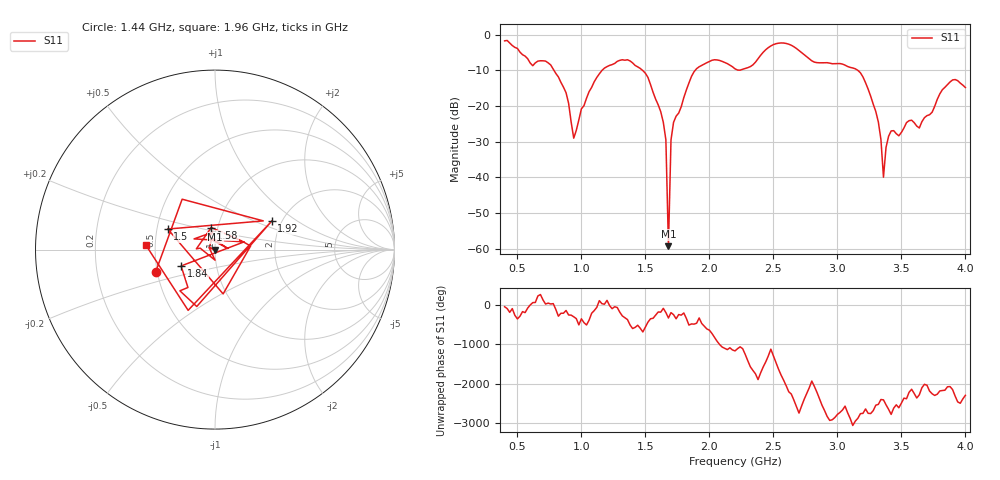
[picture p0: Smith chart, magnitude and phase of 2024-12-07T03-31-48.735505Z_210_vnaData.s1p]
!Created with skrf (http://scikit-rf.org).
# Hz S RI R 50.0
!freq ReS11 ImS11
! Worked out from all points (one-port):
!   181 points, 400 MHz to 4 GHz, reference 50 ohm
!   lowest |S11| = -59.2 dB at 1.68 GHz (marker M1), VSWR 1.00, Z = 50.1 + j0.0472 ohm
!   |S11| at or under -10 dB: 785.4 MHz to 1.162 GHz (376.8 MHz wide, 38.7 % of centre); 1.477 GHz to 1.89 GHz (412.6 MHz wide, 24.5 % of centre); 3.159 GHz to end of sweep
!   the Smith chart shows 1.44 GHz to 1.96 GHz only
!   S11 on the Smith chart (normalised r, x): 1.44 GHz: 0.49, -0.14; 1.5 GHz: 0.57, +0.14; 1.58 GHz: 0.93, +0.23; 1.84 GHz: 0.67, -0.13; 1.92 GHz: 1.78, +0.65; 1.96 GHz: 0.44, +0.03
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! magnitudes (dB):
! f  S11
! 400 MHz  -1.8
! 740 MHz  -7.9
! 860 MHz  -14.7
! 940 MHz  -29.0
! 1.1 GHz  -13.2
! 1.3 GHz  -7.2
! 1.44 GHz  -9.1
! 1.5 GHz  -10.8
! 1.58 GHz  -18.1
! 1.66 GHz  -29.5
! 1.68 GHz  -59.2
! 1.7 GHz  -29.5
! 1.76 GHz  -22.0
! 1.84 GHz  -13.6
! 1.92 GHz  -9.0
! 1.96 GHz  -8.2
! 2.2 GHz  -9.6
! 2.66 GHz  -3.4
! 3.1 GHz  -9.2
! 3.2 GHz  -11.9
! 3.3 GHz  -21.5
! 3.34 GHz  -29.4
! 3.36 GHz  -39.9
! 3.4 GHz  -28.5
! 3.56 GHz  -24.1
! 3.64 GHz  -26.2
! 3.9 GHz  -12.7
! 4 GHz  -14.8
